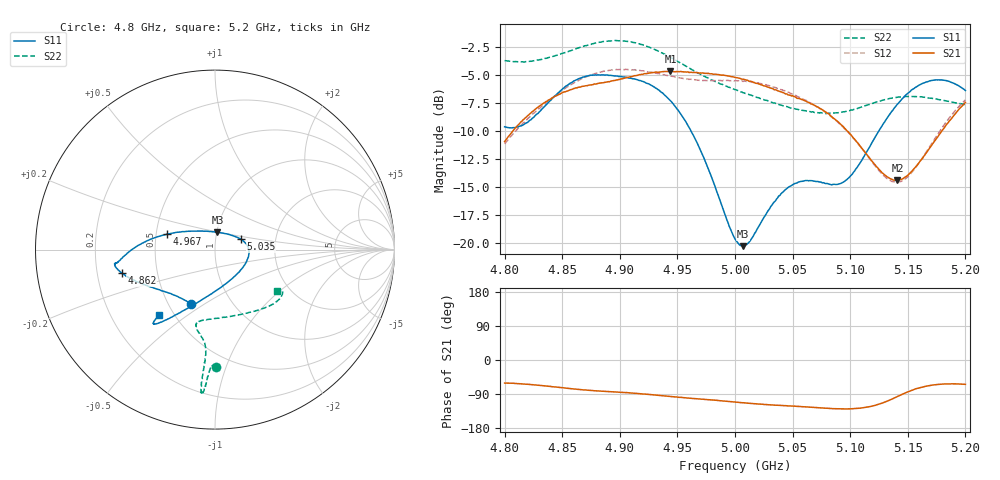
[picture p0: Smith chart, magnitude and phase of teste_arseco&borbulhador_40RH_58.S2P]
! Network Analyzer HP8722D
! Hewlett-Packard
! Data name: Linha & Wilkinson
! Saver's name: Rodrigo Anjos
! Comments: Teste da utilização de aquisição
! continua pelo VNA HP8722D
! Time and date: 15/4/2025 16:50
!  Frequency  S11  S21  S12  S22
# HZ  S  MA R 50
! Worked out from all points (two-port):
!   401 points, 4.8 GHz to 5.2 GHz, reference 50 ohm
!   highest |S21| = -4.63 dB at 4.944 GHz (marker M1); lowest = -14.4 dB at 5.141 GHz (marker M2)
!   |S21| within 3 dB of the highest: 4.832 GHz to 5.068 GHz (236.2 MHz wide, 4.77 % of centre); 5.198043 GHz to end of sweep
!   lowest |S11| = -20.3 dB at 5.007 GHz (marker M3), VSWR 1.22, Z = 50.4 + j9.79 ohm
!   |S11| at or under -10 dB: 4.962 GHz to 5.125 GHz (162.7 MHz wide, 3.23 % of centre)
!   |S22| runs from -8.4 to -1.9 dB; largest |S21 - S12| = 0.88
!   S11 on the Smith chart (normalised r, x): 4.8 GHz: 0.65, -0.44; 4.862 GHz: 0.31, -0.11; 4.967 GHz: 0.57, +0.11; 5.035 GHz: 1.32, +0.16; 5.2 GHz: 0.41, -0.39
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4.8e9  0.3315 -114.0  0.2845 -60.9  0.278 -175.2  0.6542 -89.6
4.819e9  0.3453 -133.8  0.3668 -63.8  0.355 -173.6  0.6485 -91.3
4.862e9  0.5365 -165.9  0.4945 -76.8  0.5268 -176.7  0.74 -93.7
4.867e9  0.5497 -167.8  0.5016 -78.4  0.5434 -177.7  0.7541 -93.8
4.902e9  0.5539 -172.4  0.5425 -85.6  0.5996 175.2  0.8015 -95.4
4.934e9  0.4829 -178.2  0.581 -93.5  0.5735 171.8  0.7179 -95.7
4.944e9  0.4333 177.3  0.5866 -96.4  0.5575 171.9  0.6781 -95.6
4.967e9  0.2819 162.3  0.5783 -102.3  0.5349 173.9  0.5786 -95.0
5e9  0.1047 106.0  0.5507 -111.0  0.5328 176.4  0.4853 -99.3
5.007e9  0.09714 82.0  0.5403 -112.7  0.5282 176.3  0.4703 -100.9
5.014e9  0.1042 59.6  0.5286 -114.7  0.5252 176.0  0.4579 -102.6
5.035e9  0.1546 21.9  0.4849 -119.1  0.4962 175.0  0.4219 -103.8
5.05e9  0.1828 6.0  0.4563 -121.7  0.4632 174.2  0.4017 -100.3
5.067e9  0.1903 -12.3  0.4178 -124.9  0.42 173.8  0.3865 -91.6
5.086e9  0.1835 -42.8  0.3606 -128.3  0.3595 173.7  0.382 -77.5
5.097e9  0.1922 -65.9  0.3187 -129.1  0.3172 174.5  0.3888 -68.4
5.134e9  0.3748 -116.5  0.1956 -106.2  0.1918 -158.9  0.443 -43.4
5.141e9  0.4182 -120.4  0.1911 -96.3  0.1876 -148.0  0.449 -40.3
5.152e9  0.4762 -124.8  0.2062 -81.7  0.2026 -130.8  0.4526 -36.3
5.17e9  0.5326 -128.8  0.2706 -66.8  0.2751 -112.9  0.4448 -32.2
5.184e9  0.5313 -130.2  0.3415 -63.1  0.3515 -107.3  0.4319 -31.2
5.2e9  0.4811 -130.6  0.4257 -64.2  0.437 -106.2  0.4156 -33.6
